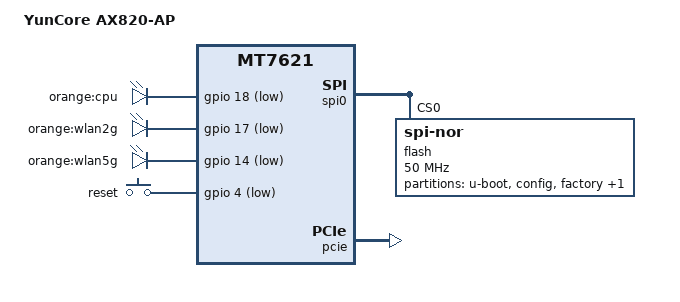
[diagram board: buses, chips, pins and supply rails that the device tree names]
// SPDX-License-Identifier: GPL-2.0-or-later OR MIT

#include "mt7621.dtsi"

#include <dt-bindings/gpio/gpio.h>
#include <dt-bindings/input/input.h>

/ {
	compatible = "yuncore,ax820", "mediatek,mt7621-soc";
	model = "YunCore AX820-AP";

	aliases {
		led-boot = &led_cpu;
		led-failsafe = &led_cpu;
		led-running = &led_cpu;
		led-upgrade = &led_cpu;
	};

	leds {
		compatible = "gpio-leds";

		led_cpu: cpu {
			label = "orange:cpu";
			gpios = <&gpio 18 GPIO_ACTIVE_LOW>;
		};

		wlan2g {
			label = "orange:wlan2g";
			gpios = <&gpio 17 GPIO_ACTIVE_LOW>;
			linux,default-trigger = "phy0radio";
		};

		wlan5g {
			label = "orange:wlan5g";
			gpios = <&gpio 14 GPIO_ACTIVE_LOW>;
			linux,default-trigger = "phy1radio";
		};
	};

	keys {
		compatible = "gpio-keys";

		reset {
			label = "reset";
			gpios = <&gpio 4 GPIO_ACTIVE_LOW>;
			linux,code = <KEY_RESTART>;
		};
	};

	chosen {
		bootargs = "console=ttyS0,115200";
	};
};

&spi0 {
	status = "okay";

	flash@0 {
		compatible = "jedec,spi-nor";
		reg = <0>;
		spi-max-frequency = <50000000>;
		m25p,fast-read;
		broken-flash-reset;

		partitions {
			compatible = "fixed-partitions";
			#address-cells = <1>;
			#size-cells = <1>;

			partition@0 {
				label = "u-boot";
				reg = <0x0 0x30000>;
				read-only;
			};

			partition@30000 {
				label = "config";
				reg = <0x30000 0x10000>;
				read-only;
			};

			factory: partition@50000 {
				label = "factory";
				reg = <0x50000 0x40000>;
				read-only;
			};

			partition@90000 {
				compatible = "denx,fit";
				label = "firmware";
				reg = <0x90000 0xf70000>;
			};
		};
	};
};

&gmac0 {
	mtd-mac-address = <&factory 0x4>;
	mtd-mac-address-increment = <3>;
};

&switch0 {
	ports {
		port@0 {
			status = "okay";
			label = "wan";
			mtd-mac-address = <&factory 0x4>;
			mtd-mac-address-increment = <1>;
		};

		port@1 {
			status = "okay";
			label = "lan";
		};
	};
};

&pcie {
	status = "okay";
};

&pcie1 {
	mt76@0,0 {
		reg = <0x0000 0 0 0 0>;
		mediatek,mtd-eeprom = <&factory 0x0>;
		mtd-mac-address = <&factory 0x4>;
	};
};

&state_default {
	gpio {
		groups = "wdt", "jtag", "i2c";
		function = "gpio";
	};
};
